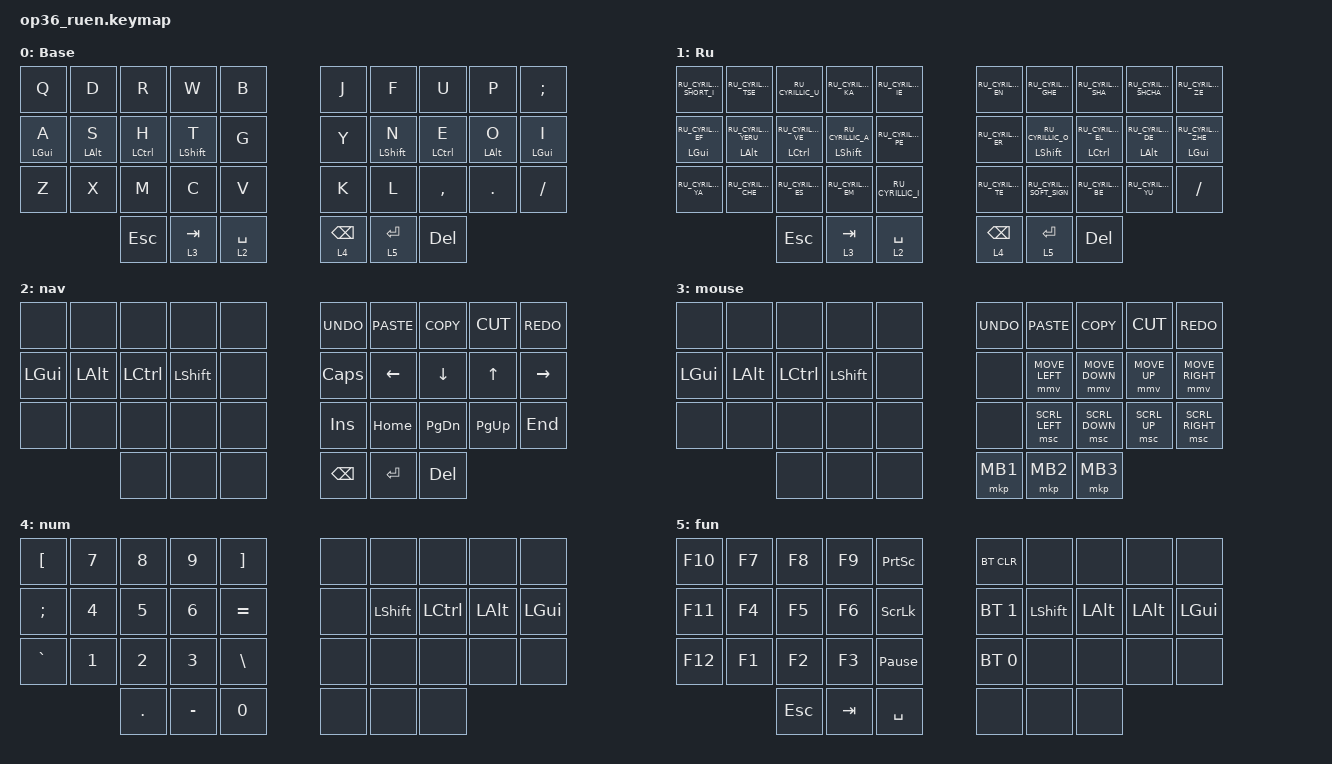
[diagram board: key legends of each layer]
#include "keys_ru.h"
#include "keys_ru.h"
#include <behaviors.dtsi>
#include <dt-bindings/zmk/bt.h>
#include <dt-bindings/zmk/keys.h>
#include <dt-bindings/zmk/pointing.h>

&mt {
    quick-tap-ms = <200>;
    flavor = "tap-preferred";
    require-prior-idle-ms = <125>;
};

/ {
    behaviors {
        hml: home_row_mod_left {
            compatible = "zmk,behavior-hold-tap";
            #binding-cells = <2>;
            flavor = "balanced";
            require-prior-idle-ms = <150>;
            tapping-term-ms = <280>;
            quick-tap-ms = <175>;
            bindings = <&kp>, <&kp>;

            hold-trigger-key-positions = <5 6 7 8 9 15 16 17 18 19 25 26 27 28 29 33 34 35>;
            hold-trigger-on-release;
        };

        hmr: home_row_mod_right {
            compatible = "zmk,behavior-hold-tap";
            #binding-cells = <2>;
            flavor = "balanced";
            require-prior-idle-ms = <150>;
            tapping-term-ms = <280>;
            quick-tap-ms = <175>;
            bindings = <&kp>, <&kp>;

            hold-trigger-key-positions = <0 1 2 3 4 10 11 12 13 14 20 21 22 23 24 30 31 32>;
            hold-trigger-on-release;
        };
    };

    combos {
        compatible = "zmk,combos";

        kha {
            bindings = <&kp RU_CYRILLIC_HA>;
            key-positions = <6 7>;
            layers = <1>;
        };

        hrdsgn {
            bindings = <&kp RU_CYRILLIC_HARD_SIGN>;
            key-positions = <26 27>;
            layers = <1>;
        };

        cmben {
            bindings = <&layer_en>;
            key-positions = <2 1>;
            layers = <1>;
        };

        cmbru {
            bindings = <&layer_ru>;
            key-positions = <2 1>;
            layers = <0>;
        };

        ru_e {
            bindings = <&kp RU_CYRILLIC_E>;
            key-positions = <17 18>;
        };
    };

    macros {
        to_ru: to_ru {
            compatible = "zmk,behavior-macro";
            #binding-cells = <0>;
            bindings = <&kp LS(LC(N2))>;
            label = "TO_RU";
            wait-ms = <0>;
            tap-ms = <30>;
        };

        to_en: to_en {
            compatible = "zmk,behavior-macro";
            #binding-cells = <0>;
            bindings = <&kp LS(LC(N1))>;
            label = "TO_EN";
            wait-ms = <0>;
            tap-ms = <30>;
        };

        layer_en: layer_en {
            compatible = "zmk,behavior-macro";
            #binding-cells = <0>;
            bindings = <&to 0 &to_en>;
            label = "LAYER_EN";
            wait-ms = <0>;
            tap-ms = <30>;
        };

        layer_ru: layer_ru {
            compatible = "zmk,behavior-macro";
            #binding-cells = <0>;
            bindings = <&to 1 &to_ru>;
            label = "LAYER_RU";
            tap-ms = <30>;
            wait-ms = <0>;
        };

        en: en {
            compatible = "zmk,behavior-macro-one-param";
            #binding-cells = <1>;
            bindings =
                <&to_en>,
                <&macro_press>,
                <&macro_param_1to1 &kp MACRO_PLACEHOLDER>,
                <&macro_pause_for_release>,
                <&macro_release>,
                <&macro_param_1to1 &kp MACRO_PLACEHOLDER>,
                <&macro_tap>,
                <&to_ru>;

            label = "EN";
            wait-ms = <0>;
            tap-ms = <30>;
        };
    };

    keymap {
        compatible = "zmk,keymap";

        en {
            bindings = <
  &kp Q        &kp D            &kp R         &kp W         &kp B                                      &kp J      &kp F         &kp U         &kp P        &kp SEMI
  &hml LGUI A  &hml LEFT_ALT S  &hml LCTRL H  &hml LSHFT T  &kp G                                      &kp Y      &hmr LSHFT N  &hmr LCTRL E  &hmr LALT O  &hmr LGUI I
  &kp Z        &kp X            &kp M         &kp C         &kp V                                      &kp K      &kp L         &kp COMMA     &kp DOT      &kp FSLH
                                              &kp ESC       &lt 3 TAB  &lt 2 SPACE    &lt 4 BACKSPACE  &lt 5 RET  &kp DEL
            >;

            display-name = "Base";
        };

        ru {
            bindings = <
  &kp RU_CYRILLIC_SHORT_I   &kp RU_CYRILLIC_TSE         &kp RU_CYRILLIC_U          &kp RU_CYRILLIC_KA        &kp RU_CYRILLIC_IE                                  &kp RU_CYRILLIC_EN  &kp RU_CYRILLIC_GHE        &kp RU_CYRILLIC_SHA        &kp RU_CYRILLIC_SHCHA     &kp RU_CYRILLIC_ZE
  &hml LGUI RU_CYRILLIC_EF  &hml LALT RU_CYRILLIC_YERU  &hml LCTRL RU_CYRILLIC_VE  &hml LSHFT RU_CYRILLIC_A  &kp RU_CYRILLIC_PE                                  &kp RU_CYRILLIC_ER  &hmr LSHIFT RU_CYRILLIC_O  &hmr LCTRL RU_CYRILLIC_EL  &hmr LALT RU_CYRILLIC_DE  &hmr LGUI RU_CYRILLIC_ZHE
  &kp RU_CYRILLIC_YA        &kp RU_CYRILLIC_CHE         &kp RU_CYRILLIC_ES         &kp RU_CYRILLIC_EM        &kp RU_CYRILLIC_I                                   &kp RU_CYRILLIC_TE  &kp RU_CYRILLIC_SOFT_SIGN  &kp RU_CYRILLIC_BE         &kp RU_CYRILLIC_YU        &kp FSLH
                                                                                   &kp ESC                   &lt 3 TAB           &lt 2 SPACE    &lt 4 BACKSPACE  &lt 5 RET           &kp DEL
            >;

            display-name = "Ru";
        };

        nav {
            bindings = <
  &none     &none     &none      &none      &none                     &kp K_UNDO  &kp K_PASTE  &kp K_COPY  &kp K_CUT  &kp K_REDO
  &kp LGUI  &kp LALT  &kp LCTRL  &kp LSHFT  &none                     &kp CAPS    &kp LEFT     &kp DOWN    &kp UP     &kp RIGHT
  &none     &none     &none      &none      &none                     &kp INS     &kp HOME     &kp PG_DN   &kp PG_UP  &kp END
                                 &none      &none  &none    &kp BSPC  &kp RET     &kp DEL
            >;
        };

        mouse {
            bindings = <
  &none     &none     &none      &none      &none                     &kp K_UNDO  &kp K_PASTE     &kp K_COPY      &kp K_CUT     &kp K_REDO
  &kp LGUI  &kp LALT  &kp LCTRL  &kp LSHFT  &none                     &none       &mmv MOVE_LEFT  &mmv MOVE_DOWN  &mmv MOVE_UP  &mmv MOVE_RIGHT
  &none     &none     &none      &none      &none                     &none       &msc SCRL_LEFT  &msc SCRL_DOWN  &msc SCRL_UP  &msc SCRL_RIGHT
                                 &none      &none  &none    &mkp MB1  &mkp MB2    &mkp MB3
            >;
        };

        num {
            bindings = <
  &kp LBKT   &kp N7  &kp N8  &kp N9   &kp RBKT                    &none  &none      &none      &none     &none
  &kp SEMI   &kp N4  &kp N5  &kp N6   &kp EQUAL                   &none  &kp LSHFT  &kp LCTRL  &kp LALT  &kp LGUI
  &kp GRAVE  &kp N1  &kp N2  &kp N3   &kp BSLH                    &none  &none      &none      &none     &none
                             &kp DOT  &kp MINUS  &kp N0    &none  &none  &none
            >;
        };

        fun {
            bindings = <
  &kp F10  &kp F7  &kp F8  &kp F9   &kp PRINTSCREEN                      &bt BT_CLR    &none      &none     &none     &none
  &kp F11  &kp F4  &kp F5  &kp F6   &kp SCROLLLOCK                       &bt BT_SEL 1  &kp LSHFT  &kp LALT  &kp LALT  &kp LGUI
  &kp F12  &kp F1  &kp F2  &kp F3   &kp PAUSE_BREAK                      &bt BT_SEL 0  &none      &none     &none     &none
                           &kp ESC  &kp TAB          &kp SPACE    &none  &none         &none
            >;
        };
    };
};
